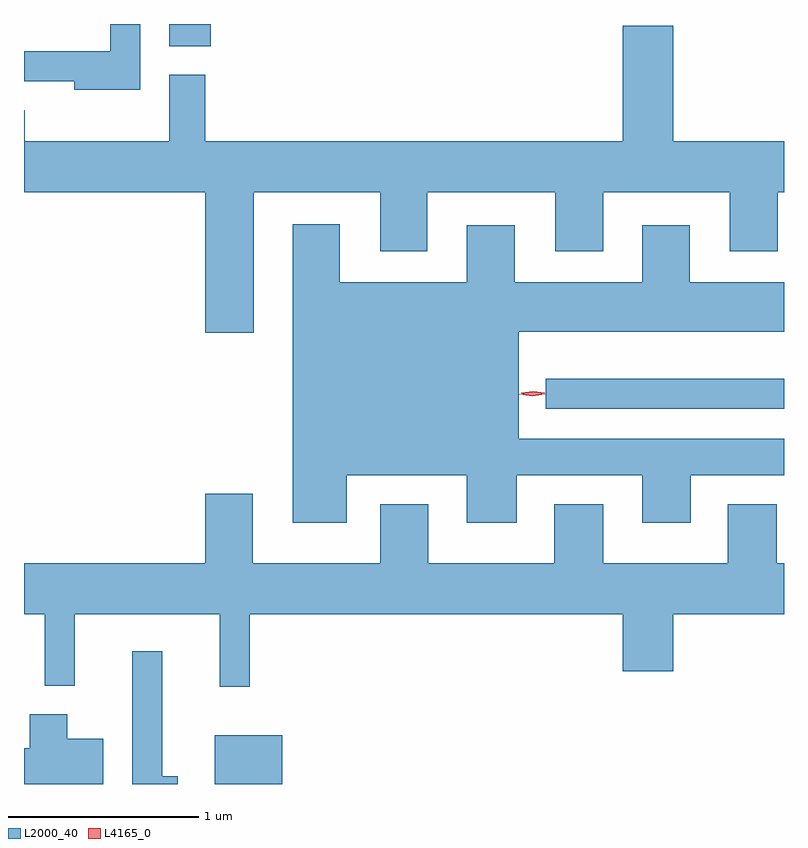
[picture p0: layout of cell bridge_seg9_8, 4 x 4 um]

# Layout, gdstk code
import gdstk
lib = gdstk.Library(unit=1e-6, precision=1e-09)
def R(c, l, rs):  # rectangles x0, y0, x1, y1
    for r in rs: c.add(gdstk.rectangle(r[:2], r[2:], *l))
def P(c, l, *ps):  # polygons
    for p in ps: c.add(gdstk.Polygon(p, *l))
L2000_40 = (2000, 40)
L4165_0 = (4165, 0)

bridge_seg9_8 = lib.new_cell('bridge_seg9_8')
R(bridge_seg9_8, L2000_40, [(1711.431,2057.522,1711.784,2057.779), (1713.173,2059.496,1714.426,2059.654), (1711.191,2061.406,1711.409,2061.522)])
P(bridge_seg9_8, L2000_40, [(1711.039,2061.522),(1710.881,2061.522),(1710.881,2061.379),(1710.426,2061.379),(1710.426,2061.221),(1710.691,2061.221),(1710.691,2061.176),(1711.039,2061.176)],
  [(1711.634,2060.636),(1712.301,2060.636),(1712.301,2060.326),(1712.549,2060.326),(1712.549,2060.636),(1713.221,2060.636),(1713.221,2060.326),(1713.474,2060.326),(1713.474,2060.636),(1714.141,2060.636),(1714.141,2060.326),(1714.394,2060.326),(1714.394,2060.636),(1714.426,2060.636),(1714.426,2060.904),(1713.844,2060.904),(1713.844,2061.514),(1713.576,2061.514),(1713.576,2060.904),(1711.379,2060.904),(1711.379,2061.254),(1711.191,2061.254),(1711.191,2060.904),(1710.429,2060.904),(1710.429,2061.069),(1710.426,2061.069),(1710.426,2060.636),(1711.381,2060.636),(1711.381,2059.896),(1711.634,2059.896)],
  [(1712.124,2059.146),(1712.756,2059.146),(1712.756,2058.896),(1713.019,2058.896),(1713.019,2059.146),(1713.681,2059.146),(1713.681,2058.896),(1713.934,2058.896),(1713.934,2059.146),(1714.426,2059.146),(1714.426,2059.339),(1713.029,2059.339),(1713.029,2059.901),(1714.426,2059.901),(1714.426,2060.164),(1713.929,2060.164),(1713.929,2060.464),(1713.681,2060.464),(1713.681,2060.164),(1713.009,2060.164),(1713.009,2060.464),(1712.756,2060.464),(1712.756,2060.164),(1712.089,2060.164),(1712.089,2060.469),(1711.841,2060.469),(1711.841,2058.896),(1712.124,2058.896)],
  [(1711.614,2058.416),(1713.576,2058.416),(1713.576,2058.116),(1713.844,2058.116),(1713.844,2058.416),(1714.426,2058.416),(1714.426,2058.684),(1714.389,2058.684),(1714.389,2058.994),(1714.131,2058.994),(1714.131,2058.684),(1713.474,2058.684),(1713.474,2058.994),(1713.216,2058.994),(1713.216,2058.684),(1712.554,2058.684),(1712.554,2058.994),(1712.301,2058.994),(1712.301,2058.684),(1711.629,2058.684),(1711.629,2059.049),(1711.381,2059.049),(1711.381,2058.684),(1710.426,2058.684),(1710.426,2058.416),(1710.536,2058.416),(1710.536,2058.038),(1710.694,2058.038),(1710.694,2058.416),(1711.456,2058.416),(1711.456,2058.033),(1711.614,2058.033)],
  [(1711.234,2057.564),(1711.154,2057.564),(1711.154,2058.222),(1710.996,2058.222),(1710.996,2057.522),(1711.234,2057.522)],
  [(1710.844,2057.759),(1710.654,2057.759),(1710.654,2057.889),(1710.456,2057.889),(1710.456,2057.709),(1710.426,2057.709),(1710.426,2057.522),(1710.844,2057.522)])
P(bridge_seg9_8, L4165_0, [(1713.105,2059.57),(1713.043,2059.579),(1713.042,2059.58),(1713.043,2059.58),(1713.105,2059.59),(1713.166,2059.58),(1713.167,2059.58),(1713.166,2059.579)],
  [(1713.101,2059.564),(1713.032,2059.573),(1713.032,2059.573),(1713.032,2059.574),(1713.101,2059.584),(1713.17,2059.574),(1713.17,2059.573),(1713.17,2059.573)])

lib.write_gds('bridge_seg9_8.gds')
